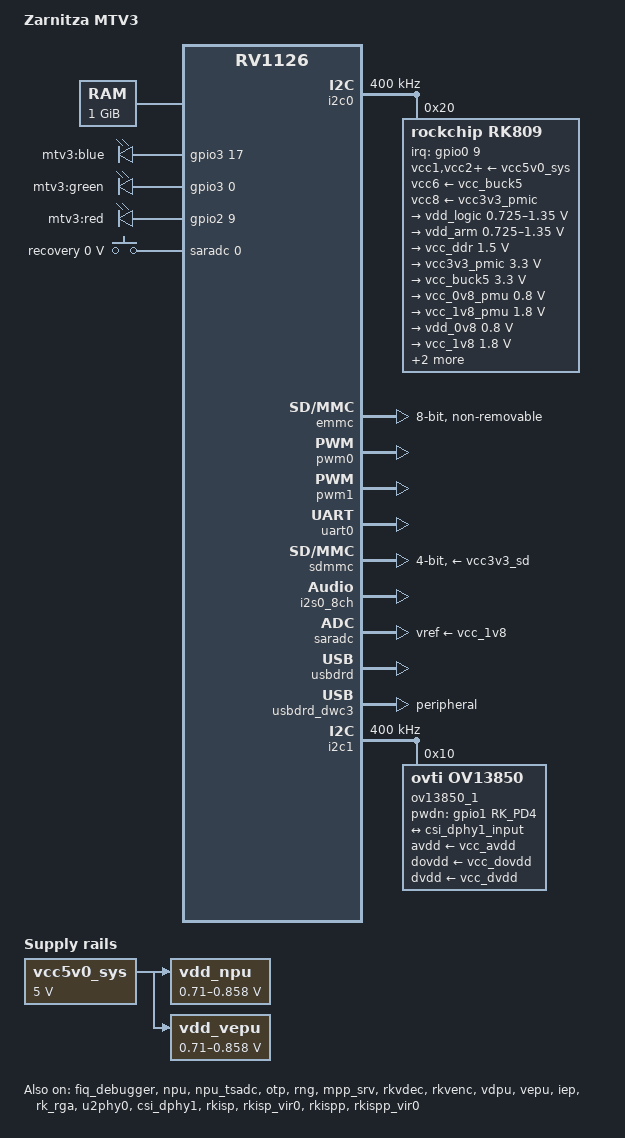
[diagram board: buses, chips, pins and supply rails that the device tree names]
// SPDX-License-Identifier: (GPL-2.0+ OR MIT)
/*
 * Copyright (c) 2025 Zarnitza
 * Device Tree for Zarnitza MTV3 RV1126-based Board
 * Combined single-file configuration
 *
 * MTV3 REV2 (этот ревью, по аудиту netlist/BOM от 2026-07-07..08):
 *  P0:
 *   - wireless-wlan / wireless-bluetooth / &sdio: disabled -> okay
 *     (в REV1 фиксы заявлены в шапке, но в текст не доехали).
 *   - &sdio: закрыт незакрытый блочный комментарий после supports-sdio —
 *     он молча съедал pinctrl-names/pinctrl-0/default-sample-phase.
 *   - rk809: vcc5-supply был <&vcc_buck5> (цикл на самого себя) -> vcc5v0_sys
 *     (лог рабочего DTB: "DCDC_REG5: supplied by vcc5v0_sys").
 *   - &sdio: + vmmc-supply = vcc_3v3_sw2 (VBAT AP6255; R116 снят, питание
 *     напрямую с VCC_3V3). В старом DTB mmc2 был слинкован только с vcc_1v8.
 *  P1:
 *   - vdd_npu/vdd_vepu: окно 725..876 мВ заменено на РАСЧЁТНОЕ 710..858 мВ
 *     (делитель R38/R41 33K/100K, инжекция 330K, PWM 3.3В через 12K/10K).
 *     876 мВ на текущих номиналах недостижим. TODO: замерить duty 0%/100%.
 *   - wifi_host_wake_h: pull_down -> pull_none (на плате внешняя R94 10K
 *     вверх к VCCIO_WL; внутренний pull-down давал делитель ~1.4В).
 *  P2:
 *   - LEDs: ACTIVE_LOW -> ACTIVE_HIGH (NPN low-side Q1..Q3, high = горит).
 *   - &emmc: возвращён штатный pinctrl (сняты /delete-property/) — иначе
 *     мультиплекс держится только на наследии от BootROM/U-Boot.
 *   - rk809_codec: удалён hp-det (GPIO3_C3 — спейр, физического детекта нет,
 *     плавающий пин случайно переключал тракт).
 *   - vccio_sd: диапазон сужен до 3.3В fixed (при no-1-8-v широкий диапазон
 *     оставлял дверь для шторма io-domains "Voltage invalid").
 *   - удалён неиспользуемый pinctrl camera_pwr_pins (GPIO3_A4).
 *   - vcc3v3_phy: vin-supply -> vcc_3v3_sw2 (железо: VCC33_LAN <- R144 <- VCC_3V3).
 *  GMAC (остаётся disabled, только клоки приведены к железу):
 *   - clock_in_out: "output" -> "input" (PHY_CLKOUT125 -> R129 22R -> GMAC_CLK_M1
 *     собран; R117 (25МГц от SoC в кварцевый контур PHY) — DNP, у PHY свой Y3).
 *   - убраны CLK_GMAC_ETHERNET_OUT (+25 МГц) и &clkm1_out_ethernet — выход
 *     G21 в никуда.
 *
 * MTV3 FIX (REV1):
 *   - &uart0  disabled -> okay   : BT (brcm_patchram_plus) требует /dev/ttyS0;
 *                                  RTS исключён из pinctrl и отдан wireless-bluetooth,
 *                                  поэтому rfkill_bt больше не падает с -22.
 *   - &saradc disabled -> okay   : adc-keys (recovery) сидит на <&saradc 0>.
 *   - wireless-wlan: + rockchip,grf, + reg_on в pinctrl, clk_wifi = rk808-clkout2.
 */

/dts-v1/;
#include <dt-bindings/gpio/gpio.h>
#include <dt-bindings/pinctrl/rockchip.h>
#include <dt-bindings/display/media-bus-format.h>
#include <dt-bindings/input/input.h>
#include "rv1126.dtsi"

/ {
	model = "Zarnitza MTV3";
	compatible = "zarnitza,rv1126-mtv3", "rockchip,rv1126";

	chosen {
		bootargs = "console=ttyFIQ0,1500000 root=/dev/mmcblk0p6 rw rootwait";
		/*
		 * Прошивка bcmdhd вшита с Android-путями
		 * (/vendor/etc/firmware/fw_bcmdhd.bin, .../nvram.txt) — на Buildroot
		 * их нет. Либо положить файлы туда (симлинки на BCM43455/AP6255),
		 * либо раскомментировать оверрайд ниже (имена сверить с деревом SDK):
		 * bootargs = "console=ttyFIQ0,1500000 root=/dev/mmcblk0p6 rw rootwait \
		 *   bcmdhd.firmware_path=/lib/firmware/fw_bcm43455c0_ag.bin \
		 *   bcmdhd.nvram_path=/lib/firmware/nvram_ap6255.txt";
		 */
	};

	memory@0 {
		device_type = "memory";
		/* 2x512МБ DDR3 K4B4G1646E = 1ГБ (DDR-лог: Size=1024MB) */
		reg = <0x0 0x40000000>; /* 1 ГБ; база RV1126 = 0x0 */
	};

	aliases {
		ethernet0 = &gmac;
		mmc0 = &emmc;
		mmc1 = &sdmmc;
		mmc2 = &sdio;
	};

	/*
	 * ============================================================
	 * Power Supplies
	 * ============================================================
	 */

	/* External 5V input */
	vcc5v0_sys: vcc5v0-sys-regulator {
		compatible = "regulator-fixed";
		regulator-name = "vcc5v0_sys";
		regulator-min-microvolt = <5000000>;
		regulator-max-microvolt = <5000000>;
		regulator-always-on;
		regulator-boot-on;
	};

	/*
	 * VDD_NPU: SY8089 + ШИМ PWM0/GPIO0_B6 (схема, лист 14).
	 * MTV3 REV2: окно = РАСЧЁТ по номиналам платы (FB 0.6В; R38 33K верх,
	 * R41 100K низ, R44 330K инжекция; PWM 3.3В через R43 12K / R45 10K;
	 * подтяжка R42 24K к 3.3В): duty0 -> 0.858В, duty100 -> 0.710В.
	 * 876 мВ НЕДОСТИЖИМ на текущих номиналах — OPP-800МГц (875мВ) не включать
	 * до респина (R41/R49 100K -> 86.6K даст окно ~0.74..0.89В).
	 * TODO: подтвердить края вольтметром при duty 0%/100% до включения
	 * npu-supply/venc-supply.
	 */
	vdd_npu: vdd-npu {
		compatible = "pwm-regulator";
		pwms = <&pwm0 0 3300 1>;
		regulator-name = "vdd_npu";
		regulator-min-microvolt = <710000>;
		regulator-max-microvolt = <858000>;
		regulator-init-microvolt = <800000>;
		regulator-settling-time-up-us = <300>;
		regulator-always-on;
		regulator-boot-on;
		pwm-supply = <&vcc5v0_sys>;
	};

	/* VDD_VEPU: SY8089 + ШИМ PWM1/GPIO0_B7 (схема, лист 14). Окно — см. vdd_npu */
	vdd_vepu: vdd-vepu {
		compatible = "pwm-regulator";
		pwms = <&pwm1 0 3300 1>;
		regulator-name = "vdd_vepu";
		regulator-min-microvolt = <710000>;
		regulator-max-microvolt = <858000>;
		regulator-init-microvolt = <800000>;
		regulator-settling-time-up-us = <300>;
		regulator-always-on;
		regulator-boot-on;
		pwm-supply = <&vcc5v0_sys>;
	};

	/*
	 * Ethernet PHY power.
	 * MTV3 REV2: vin-supply -> vcc_3v3_sw2: в железе VCC33_LAN питается
	 * через R144 100мОм от VCC_3V3 (выход SWITCH_REG2), не от vcc3v3_pmic.
	 */
	vcc3v3_phy: vcc3v3-phy-regulator {
		compatible = "regulator-fixed";
		regulator-name = "vcc3v3_phy";
		regulator-min-microvolt = <3300000>;
		regulator-max-microvolt = <3300000>;
		vin-supply = <&vcc_3v3_sw2>;
		regulator-always-on;
		regulator-boot-on;
	};

	/*
	 * ============================================================
	 * User Interface (LEDs, Keys)
	 * ============================================================
	 */

	/*
	 * MTV3 User LEDs.
	 * MTV3 REV2: полярность ACTIVE_HIGH — драйверы NPN low-side
	 * (GPIO -> 10K R165..R167 -> база S8050 Q1..Q3, high = горит).
	 */
	leds {
		compatible = "gpio-leds";
		pinctrl-names = "default";
		pinctrl-0 = <&user_led_pins>;

		/* BLED_EN = GPIO3_C1 (схема S11) */
		blue-led {
			label = "mtv3:blue";
			gpios = <&gpio3 17 GPIO_ACTIVE_HIGH>;	/* GPIO3_C1 */
			linux,default-trigger = "mmc1";
		};

		/* GLED_EN = GPIO3_A0 (схема S12, ball E19) */
		green-led {
			label = "mtv3:green";
			gpios = <&gpio3 0 GPIO_ACTIVE_HIGH>;	/* GPIO3_A0 */
			linux,default-trigger = "mmc1";
		};

		/* RLED_EN = GPIO2_B1 (схема S12, ball L20) */
		red-led {
			label = "mtv3:red";
			gpios = <&gpio2 9 GPIO_ACTIVE_HIGH>;	/* GPIO2_B1 */
			linux,default-trigger = "heartbeat";
		};
	};

	/*
	 * На модуле единственная кнопка — recovery SW1 на SARADC ADC0 (схема S13).
	 * Кнопка питания — это PMIC RK809 pwrkey (отдельно). Прежние gpio-keys
	 * сидели на SDMMC0_DET (GPIO0_A3), TSADC_SHUT (GPIO0_A1) и спейр GPIO3_C3 —
	 * это не кнопки, удалены.
	 */
	adc-keys {
		compatible = "adc-keys";
		io-channels = <&saradc 0>;
		io-channel-names = "buttons";
		keyup-threshold-microvolt = <1800000>;
		poll-interval = <100>;

		recovery-key {
			label = "recovery";
			linux,code = <408>; /* KEY_RESTART; назначьте под свою задачу */
			press-threshold-microvolt = <0>;
		};
	};

	/*
	 * ============================================================
	 * Audio
	 * ============================================================
	 */
	mtv3_sound: mtv3-sound {
		compatible = "simple-audio-card";
		simple-audio-card,format = "i2s";
		simple-audio-card,mclk-fs = <256>;
		simple-audio-card,name = "mtv3-audio";
		simple-audio-card,cpu {
			sound-dai = <&i2s0_8ch>;
		};
		simple-audio-card,codec {
			sound-dai = <&rk809_codec>;
		};
	};

	/*
	 * ============================================================
	 * Wireless (WiFi/Bluetooth)
	 * ============================================================
	 */

	/* WiFi - AP6255 (BCM43455), bcmdhd/rfkill (CONFIG_BCMDHD=y) */
	wireless-wlan {
		compatible = "wlan-platdata";
		rockchip,grf = <&grf>;		/* нужен rfkill_wlan */
		wifi_chip_type = "ap6255";
		sdio_vref = <1800>;		/* = страп SDIO_VSEL (R107 10K вверх) */
		clocks = <&rk809 1>;		/* 32k LPO = rk808-clkout2 (пин 68) */
		clock-names = "clk_wifi";	/* подтверждено clk_summary: 1/1, 32768 Гц */
		WIFI,poweren_gpio  = <&gpio0 RK_PA6 GPIO_ACTIVE_HIGH>;	/* WIFI_REG_ON */
		WIFI,host_wake_irq = <&gpio0 RK_PB0 GPIO_ACTIVE_HIGH>;	/* WIFI_HOST_WAKE */
		pinctrl-names = "default";
		pinctrl-0 = <&wifi_host_wake_h &wifi_reg_on_h>;
		status = "disabled";		/* MTV3 REV2: реально включён */
		/*
		 * БЕЗ клока clk_wifi clkout2 гасится (clk_disable_unused) -> 32k не идёт
		 * на AP6255 -> PMU не стартует -> CMD5 timeout / dhd err=-19.
		 * Проверка: clk_summary -> rk808-clkout2 enable_count >= 1.
		 */
	};

	/* Bluetooth - AP6255 module */
	wireless-bluetooth {
		compatible = "bluetooth-platdata";
		uart_rts_gpios = <&gpio1 16 GPIO_ACTIVE_LOW>;	/* GPIO1_C0 - UART0 RTS */
		pinctrl-names = "default", "rts_gpio";
		pinctrl-0 = <&uart0_rtsn>;
		pinctrl-1 = <&uart0_rtsn_gpio>;
		BT,reset_gpio = <&gpio0 7 GPIO_ACTIVE_HIGH>;	/* GPIO0_A7 - BT_REG_ON */
		BT,wake_host_irq = <&gpio0 5 GPIO_ACTIVE_HIGH>;	/* GPIO0_A5 - BT Wake Host */
		status = "disabled";		/* MTV3 REV2: реально включён */
	};
};

/*
 * ============================================================
 * PMIC (RK809) Configuration
 * ============================================================
 */
&i2c0 {
	status = "okay";
	clock-frequency = <400000>;

	rk809: pmic@20 {
		compatible = "rockchip,rk809";
		reg = <0x20>;
		interrupt-parent = <&gpio0>;
		interrupts = <9 8>;
		#clock-cells = <1>;
		clock-output-names = "rk808-clkout1", "rk808-clkout2";
		pinctrl-names = "default";
		pinctrl-0 = <&pmic_pins>;
		rockchip,system-power-controller;
		wakeup-source;

		/* PMIC input supply mappings (VINx pins) */
		vcc1-supply = <&vcc5v0_sys>;	/* VIN1 -> DCDC_REG1 (vdd_logic) */
		vcc2-supply = <&vcc5v0_sys>;	/* VIN2 -> DCDC_REG2 (vdd_arm) */
		vcc3-supply = <&vcc5v0_sys>;	/* VIN3 -> DCDC_REG3 (vcc_ddr) */
		vcc4-supply = <&vcc5v0_sys>;	/* VIN4 -> DCDC_REG4 (vcc3v3_pmic) */
		vcc5-supply = <&vcc5v0_sys>;	/* VIN5 -> DCDC_REG5; MTV3 REV2: был цикл на vcc_buck5 */
		vcc6-supply = <&vcc_buck5>;	/* VIN6 -> LDO_REG1-4 */
		vcc7-supply = <&vcc5v0_sys>;	/* VIN7 -> LDO_REG5-7 */
		vcc8-supply = <&vcc3v3_pmic>;	/* VIN8 -> SWITCH_REG2 */
		vcc9-supply = <&vcc5v0_sys>;	/* VIN9 -> SWITCH_REG1 */

		pwrkey {
			status = "okay";
		};

		pinctrl_rk8xx: pinctrl_rk8xx {
			gpio-controller;
			#gpio-cells = <2>;

			rk817_slppin_null: rk817_slppin_null {
				pins = "gpio_slp";
				function = "pin_fun0";
			};

			rk817_slppin_slp: rk817_slppin_slp {
				pins = "gpio_slp";
				function = "pin_fun1";
			};

			rk817_slppin_pwrdn: rk817_slppin_pwrdn {
				pins = "gpio_slp";
				function = "pin_fun2";
			};

			rk817_slppin_rst: rk817_slppin_rst {
				pins = "gpio_slp";
				function = "pin_fun3";
			};
		};

		regulators {
			vdd_logic: DCDC_REG1 {
				regulator-always-on;
				regulator-boot-on;
				regulator-min-microvolt = <725000>;
				regulator-max-microvolt = <1350000>;
				regulator-ramp-delay = <6001>;
				regulator-initial-mode = <0x2>;
				regulator-name = "vdd_logic";
				regulator-state-mem {
					regulator-on-in-suspend;
					regulator-suspend-microvolt = <800000>;
				};
			};

			vdd_arm: DCDC_REG2 {
				regulator-always-on;
				regulator-boot-on;
				regulator-min-microvolt = <725000>;
				regulator-max-microvolt = <1350000>;
				regulator-ramp-delay = <6001>;
				regulator-initial-mode = <0x2>;
				regulator-name = "vdd_arm";
				regulator-state-mem {
					regulator-off-in-suspend;
				};
			};

			vcc_ddr: DCDC_REG3 {
				regulator-name = "vcc_ddr";
				regulator-min-microvolt = <1500000>;
				regulator-max-microvolt = <1500000>;
				regulator-initial-mode = <0x2>;
				regulator-always-on;
				regulator-boot-on;
				regulator-state-mem {
					regulator-on-in-suspend;
				};
			};

			vcc3v3_pmic: DCDC_REG4 {
				regulator-name = "vcc3v3_pmic";
				regulator-min-microvolt = <3300000>;
				regulator-max-microvolt = <3300000>;
				regulator-initial-mode = <0x2>;
				regulator-always-on;
				regulator-boot-on;
				regulator-state-mem {
					regulator-on-in-suspend;
				};
			};

			vcc_buck5: DCDC_REG5 {
				regulator-name = "vcc_buck5";
				regulator-min-microvolt = <3300000>;
				regulator-max-microvolt = <3300000>;
				regulator-always-on;
				regulator-boot-on;
			};

			vcc_0v8_pmu: LDO_REG1 {
				regulator-name = "vcc_0v8_pmu";
				regulator-min-microvolt = <800000>;
				regulator-max-microvolt = <800000>;
				regulator-always-on;
				regulator-boot-on;
				regulator-state-mem {
					regulator-on-in-suspend;
				};
			};

			vcc_1v8_pmu: LDO_REG2 {
				regulator-name = "vcc_1v8_pmu";
				regulator-min-microvolt = <1800000>;
				regulator-max-microvolt = <1800000>;
				regulator-always-on;
				regulator-boot-on;
				regulator-state-mem {
					regulator-on-in-suspend;
				};
			};

			vdd_0v8: LDO_REG3 {
				regulator-name = "vdd_0v8";
				regulator-min-microvolt = <800000>;
				regulator-max-microvolt = <800000>;
				regulator-always-on;
				regulator-boot-on;
				regulator-state-mem {
					regulator-on-in-suspend;
					regulator-suspend-microvolt = <800000>;
				};
			};

			vcc_1v8: LDO_REG4 {
				regulator-name = "vcc_1v8";
				regulator-min-microvolt = <1800000>;
				regulator-max-microvolt = <1800000>;
				regulator-always-on;
				regulator-boot-on;
				regulator-state-mem {
					regulator-on-in-suspend;
				};
			};

			vcc_dovdd: LDO_REG5 {
				regulator-always-on;
				regulator-name = "vcc_dovdd";
				regulator-min-microvolt = <1800000>;
				regulator-max-microvolt = <1800000>;
				regulator-state-mem {
					regulator-off-in-suspend;
				};
			};

			vcc_dvdd: LDO_REG6 {
				regulator-name = "vcc_dvdd";
				regulator-min-microvolt = <1200000>;
				regulator-max-microvolt = <1200000>;
				regulator-always-on;
				regulator-boot-on;
				regulator-state-mem {
					regulator-off-in-suspend;
				};
			};

			vcc_avdd: LDO_REG7 {
				regulator-always-on;
				regulator-name = "vcc_avdd";
				regulator-min-microvolt = <2800000>;
				regulator-max-microvolt = <2800000>;
				regulator-state-mem {
					regulator-off-in-suspend;
				};
			};

			/*
			 * MTV3 REV2: зажат на 3.3В. UHS убран из &sdmmc (no-1-8-v),
			 * широкий диапазон 1.8..3.3 оставлял дверь для шторма
			 * io-domains "Voltage invalid" на vccio2.
			 */
			vccio_sd: LDO_REG8 {
				regulator-always-on;
				regulator-name = "vccio_sd";
				regulator-min-microvolt = <3300000>;
				regulator-max-microvolt = <3300000>;
				regulator-state-mem {
					regulator-off-in-suspend;
				};
			};

			vcc3v3_sd: LDO_REG9 {
				regulator-always-on;
				regulator-name = "vcc3v3_sd";
				regulator-min-microvolt = <3300000>;
				regulator-max-microvolt = <3300000>;
				regulator-state-mem {
					regulator-off-in-suspend;
				};
			};

			vcc5v0_host: SWITCH_REG1 {
				regulator-always-on;
				regulator-name = "vcc5v0_host";
				regulator-min-microvolt = <5000000>;
				regulator-max-microvolt = <5000000>;
				regulator-state-mem {
					regulator-off-in-suspend;
				};
			};

			vcc_3v3_sw2: SWITCH_REG2 {
				regulator-always-on;
				regulator-name = "vcc_3v3_sw2";
				regulator-min-microvolt = <3300000>;
				regulator-max-microvolt = <3300000>;
				regulator-boot-on;
				regulator-state-mem {
					regulator-on-in-suspend;
				};
			};
		};

		rk809_codec: codec {
			#sound-dai-cells = <0>;
			compatible = "rockchip,rk817-codec";
			clocks = <&cru MCLK_I2S0_TX_OUT2IO>;
			clock-names = "mclk";
			assigned-clocks = <&cru MCLK_I2S0_TX_OUT2IO>;
			assigned-clock-parents = <&cru MCLK_I2S0_TX>;
			pinctrl-names = "default";
			pinctrl-0 = <&i2s0m0_mclk>;
			hp-volume = <20>;
			spk-volume = <3>;
			status = "okay";
			/*
			 * MTV3 REV2: hp-det (GPIO3_C3) удалён — спейр без физического
			 * детекта, плавающий вход переключал тракт случайным образом.
			 */
		};
	};
};

&pmu_io_domains {
	status = "okay";
	pmuio0-supply = <&vcc_1v8_pmu>;
	pmuio1-supply = <&vcc3v3_pmic>;
	vccio1-supply = <&vcc_3v3_sw2>;
	vccio2-supply = <&vccio_sd>;
	vccio3-supply = <&vcc_1v8>;
	vccio4-supply = <&vcc_1v8>;
	vccio5-supply = <&vcc_3v3_sw2>;
	vccio6-supply = <&vcc_3v3_sw2>;
	vccio7-supply = <&vcc_1v8>;
};

/*
 * ============================================================
 * CPU/NPU OPP Tables
 * ============================================================
 */
&cpu0 {
	cpu-supply = <&vdd_arm>;
};

&npu_opp_table {
	/* MTV3 NPU OPP configuration optimized for machine vision workloads */
	opp-200000000 {
		opp-hz = /bits/ 64 <200000000>;
		opp-microvolt = <725000>;
	};

	opp-300000000 {
		opp-hz = /bits/ 64 <300000000>;
		opp-microvolt = <750000>;
	};

	opp-400000000 {
		opp-hz = /bits/ 64 <400000000>;
		opp-microvolt = <775000>;
	};

	opp-500000000 {
		opp-hz = /bits/ 64 <500000000>;
		opp-microvolt = <800000>;
	};

	opp-600000000 {
		opp-hz = /bits/ 64 <600000000>;
		opp-microvolt = <825000>;
	};

	opp-700000000 {
		opp-hz = /bits/ 64 <700000000>;
		opp-microvolt = <850000>;
	};

	/*
	 * 875 мВ вне окна pwm-regulator на текущих номиналах (max 858 мВ).
	 * Активировать только после респина R41/R49 -> 86.6K.
	 */
	opp-800000000 {
		opp-hz = /bits/ 64 <800000000>;
		opp-microvolt = <875000>;
	};
};

&cpu0_opp_table {
	/* MTV3 CPU OPP configuration */
	opp-408000000 {
		opp-hz = /bits/ 64 <408000000>;
		opp-microvolt = <800000>;
		clock-latency-ns = <40000>;
	};

	opp-600000000 {
		opp-hz = /bits/ 64 <600000000>;
		opp-microvolt = <800000>;
		clock-latency-ns = <40000>;
	};

	opp-816000000 {
		opp-hz = /bits/ 64 <816000000>;
		opp-microvolt = <850000>;
		clock-latency-ns = <40000>;
	};

	opp-1008000000 {
		opp-hz = /bits/ 64 <1008000000>;
		opp-microvolt = <925000>;
		clock-latency-ns = <40000>;
	};

	opp-1200000000 {
		opp-hz = /bits/ 64 <1200000000>;
		opp-microvolt = <975000>;
		clock-latency-ns = <40000>;
	};

	opp-1416000000 {
		opp-hz = /bits/ 64 <1416000000>;
		opp-microvolt = <1025000>;
		clock-latency-ns = <40000>;
	};

	/* Maximum CPU frequency */
	opp-1512000000 {
		opp-hz = /bits/ 64 <1512000000>;
		opp-microvolt = <1075000>;
		clock-latency-ns = <40000>;
	};
};

/*
 * ============================================================
 * Storage / Debug Console
 * ============================================================
 */
&emmc {
	bus-width = <8>;
	cap-mmc-highspeed;
	non-removable;
	no-1-8-v;
	rockchip,default-sample-phase = <90>;
	supports-emmc;
	/*
	 * MTV3 REV2: /delete-property/ pinctrl снят — мультиплекс держался
	 * только на наследии BootROM/U-Boot и терялся drive-strength;
	 * после suspend/resume мог отвалиться. Наследуем штатный pinctrl
	 * из rv1126.dtsi. Если удаление лечило конкретный конфликт — сообщить.
	 */
	status = "okay";
};

&fiq_debugger {
	status = "okay";
	rockchip,baudrate = <1500000>;
	rockchip,irq-mode-enable = <1>;
	rockchip,serial-id = <2>;
	pinctrl-names = "default";
	pinctrl-0 = <&uart2m1_xfer>;
};

&uart2 {
	status = "disabled";
};

/* PWM для pwm-regulator VDD_NPU/VDD_VEPU + UART0 для BT */
&pwm0 {
	status = "okay";
};

&pwm1 {
	status = "okay";
};

&uart0 {
	status = "okay";	/* BT (patchram) требует ttyS0 */
	/*
	 * RTS (GPIO1_C0/gpio1-16) НЕ отдаём serial-драйверу: иначе ttyS0
	 * захватывает пин и rfkill_bt падает с -22. RTS управляет
	 * wireless-bluetooth (pinctrl uart0_rtsn / uart0_rtsn_gpio).
	 */
	pinctrl-names = "default";
	pinctrl-0 = <&uart0_xfer &uart0_ctsn>;
};

/* SD Card Slot */
&sdmmc {
	status = "okay";
	bus-width = <4>;
	cap-mmc-highspeed;
	cap-sd-highspeed;
	card-detect-delay = <200>;
	rockchip,default-sample-phase = <90>;
	supports-sd;
	no-1-8-v;
	broken-cd;
	/*
	 * UHS убран: переключение сигналки 1.8В на широкодиапазонном vccio_sd
	 * вызывало шторм io-domains "Voltage invalid". Только HS/3.3В.
	 * broken-cd: детект R85 подтянут к коммутируемому VCC3V3_SD (P0 респина).
	 */
	vqmmc-supply = <&vccio_sd>;
	vmmc-supply = <&vcc3v3_sd>;
};

/*
 * ============================================================
 * Networking
 * ============================================================
 */

/* WiFi SDIO Interface */
&sdio {
	status = "disabled";	/* MTV3 REV2: реально включён (в REV1 остался disabled) */
	bus-width = <4>;
	cap-sd-highspeed;
	cap-sdio-irq;
	keep-power-in-suspend;
	non-removable;		/* нужно для presence карты (detect программный) */
	supports-sdio;		/* КРИТИЧНО: ставит RESTRICT_CARD_TYPE_SDIO */
	/*
	 * MTV3 REV2: блочный комментарий выше был не закрыт и молча съедал
	 * следующие три строки (pinctrl + sample-phase). Не повторять.
	 */
	pinctrl-names = "default";
	pinctrl-0 = <&sdio_clk &sdio_cmd &sdio_bus4>;
	rockchip,default-sample-phase = <90>;	/* устойчивость шины 1.8В */
	vmmc-supply = <&vcc_3v3_sw2>;	/* VBAT: VCC_3V3 -> (R116 снят) -> VCC_WL, 3.3В */
	vqmmc-supply = <&vcc_1v8>;	/* VDDIO модуля (VCCIO_WL) = 1.8В через R109; REG_ON рулит rfkill */
};

&vcc3v3_phy {
	status = "disabled";
};

/*
 * Gigabit Ethernet — остаётся ВЫКЛЮЧЕН до респина (VDDIO PHY не запитан, P0-1).
 * MTV3 REV2: клоки приведены к железу заранее:
 *  - clock_in_out = "input": PHY_CLKOUT125 -> R129 22R -> GMAC_CLK_M1 (K21) собран,
 *    а R117 (25 МГц от G21 в кварцевый контур PHY) — DNP, у PHY свой кварц Y3.
 *  - CLK_GMAC_ETHERNET_OUT (+ rate 25 МГц) и &clkm1_out_ethernet убраны —
 *    выход G21 физически в никуда.
 * При включении на респине: CLKOUT PHY сконфигурировать на 125 МГц
 * (по умолчанию RTL8211F отдаёт 25 МГц; realtek-драйвер, НЕ ставить
 * realtek,clkout-disable), добавить max-speed = <100> (межплатные разъёмы),
 * mdio phy@1 уже верен (страп PHYAD=001 после починки VDDIO).
 */
&gmac {
	status = "disabled";
	phy-mode = "rgmii";
	clock_in_out = "input";
	assigned-clocks = <&cru CLK_GMAC_SRC>, <&cru CLK_GMAC_TX_RX>;
	assigned-clock-parents = <&cru CLK_GMAC_SRC_M1>, <&cru RGMII_MODE_CLK>;
	assigned-clock-rates = <125000000>;
	tx_delay = <0x2a>;
	rx_delay = <0x1a>;
	snps,reset-gpio = <&gpio2 16 GPIO_ACTIVE_LOW>;	/* GPIO2_C0 */
	snps,reset-active-low;
	snps,reset-delays-us = <0 20000 100000>;
	pinctrl-names = "default";
	pinctrl-0 = <&rgmiim1_miim &rgmiim1_bus2 &rgmiim1_bus4 &rgmiim1_mclkinout>;
	phy-handle = <&phy>;
	phy-supply = <&vcc3v3_phy>;

	mdio {
		compatible = "snps,dwmac-mdio";
		#address-cells = <1>;
		#size-cells = <0>;

		phy: ethernet-phy@1 {
			compatible = "ethernet-phy-ieee802.3-c22";
			reg = <0x1>;
		};
	};
};

/*
 * ============================================================
 * Audio
 * ============================================================
 */
&i2s0_8ch {
	status = "okay";
	#sound-dai-cells = <0>;
	pinctrl-names = "default";
	pinctrl-0 = <&i2s0m0_sclk_tx &i2s0m0_lrck_tx &i2s0m0_sdi0 &i2s0m0_sdo0>;
};

/*
 * ============================================================
 * NPU / AI Accelerator
 * ============================================================
 */
&npu {
	status = "okay";
	npu-supply = <&vdd_npu>;	/* включать после замера окна PWM (см. vdd_npu) */
};

/*
 * ============================================================
 * Sensors and Misc
 * ============================================================
 */
&cpu_tsadc {
	status = "okay";
};

&npu_tsadc {
	status = "okay";
};

&otp {
	status = "okay";
};

&rng {
	status = "okay";
};

&ramoops {
	status = "okay";
};

&saradc {
	status = "okay";	/* adc-keys (recovery) на <&saradc 0> */
	vref-supply = <&vcc_1v8>;
};

/*
 * ============================================================
 * Suspend/Resume
 * ============================================================
 */
&rockchip_suspend {
	status = "okay";
	rockchip,sleep-debug-en = <1>;
	rockchip,sleep-mode-config = <
		(0
		| RKPM_SLP_ARMOFF
		| RKPM_SLP_PMU_PMUALIVE_32K
		| RKPM_SLP_PMU_DIS_OSC
		| RKPM_SLP_PMIC_LP
		)
	>;
	rockchip,wakeup-config = <
		(0
		| RKPM_GPIO_WKUP_EN
		)
	>;
};

/*
 * ============================================================
 * Video Processing
 * ============================================================
 */
&mpp_srv {
	status = "okay";
};

&rkvdec {
	status = "okay";
};

&rkvdec_mmu {
	status = "okay";
};

&rkvenc {
	//venc-supply = <&vdd_vepu>;	/* включать после замера окна PWM (см. vdd_vepu) */
	status = "okay";
};

&rkvenc_mmu {
	status = "okay";
};

&vdpu {
	status = "okay";
};

&vepu {
	status = "okay";
};

&vpu_mmu {
	status = "okay";
};

&iep {
	status = "okay";
};

&iep_mmu {
	status = "okay";
};

&rk_rga {
	status = "okay";
};

/*
 * ============================================================
 * USB
 * ============================================================
 */

/* USB 2.0 PHY0 - OTG port */
&u2phy0 {
	status = "okay";

	u2phy_otg: otg-port {
		status = "okay";
	};
};

/*
 * USB 2.0 PHY1 - Host port
 * TODO: Enable when carrier board with USB host connector is connected
 */
&u2phy1 {
	status = "disabled";

	u2phy_host: host-port {
		status = "disabled";
		phy-supply = <&vcc5v0_host>;
	};
};

&usb_host0_ehci {
	status = "disabled";
};

&usb_host0_ohci {
	status = "disabled";
};

&usbdrd {
	status = "okay";
};

&usbdrd_dwc3 {
	status = "okay";
	dr_mode = "peripheral";
};

/* ============================================================
 * Две камеры OV13850 на MTV3 (RV1126) — ФИНАЛЬНАЯ DTS-конфигурация
 * ============================================================
 *
 * Пины (из схемы MTV3, переведены в RK_Pxy):
 *   SDA  W19  GPIO1_D2   i2c1 SDA
 *   SCL  Y21  GPIO1_D3   i2c1 SCL
 *   PDN1 W20  GPIO1_D4   cam1 powerdown  -> &gpio1 RK_PD4
 *   PDN2 V20  GPIO1_D5   cam2 powerdown  -> &gpio1 RK_PD5
 *   XSD1 V19  GPIO1_D6   cam1 reset      -> &gpio1 RK_PD6
 *   XSD2 U18  GPIO1_D7   cam2 reset      -> &gpio1 RK_PD7
 *   XVS1 U19  GPIO2_A0   cam1 frame-sync -> &gpio2 RK_PA0  (опционально)
 *   XVS2 U20  GPIO2_A1   cam2 frame-sync -> &gpio2 RK_PA1  (опционально)
 *   MIPI_CLK1 GPIO2_A2   xvclk cam1 -> pinctrl mipicsi_clk1 (узел на RK_PA2!)
 *   MIPI_CLK2 GPIO2_A3   xvclk cam2 -> pinctrl mipicsi_clk0 (узел на RK_PA3!)
 *
 *  ВНИМАНИЕ: имена pinctrl-узлов "перевёрнуты" относительно пинов:
 *   mipicsi_clk0 = <2 RK_PA3 1> -> GPIO2_A3 = MIPI_CLK2 -> cam2
 *   mipicsi_clk1 = <2 RK_PA2 1> -> GPIO2_A2 = MIPI_CLK1 -> cam1
 *   Поэтому cam1 использует mipicsi_clk1, cam2 — mipicsi_clk0.
 *
 * Камеры:
 *   Camera 1: OV13850 @ i2c1 0x10 -> csi_dphy0 -> mipi_csi2 -> rkcif
 *   Camera 2: OV13850 @ i2c1 0x36 -> csi_dphy1 -> rkisp
 *
 * Параметры OV13850 (драйвер ov13850.c): xvclk 24MHz (CLK_MIPICSI_OUT),
 *   2 data-lanes, link-freq 300MHz, supplies avdd/dovdd/dvdd.
 *
 *  Осталось проверить (отмечено TODO):
 *   xvclk pinctrl ПОДТВЕРЖДЁН: mipicsi_clk0=GPIO2_A3, mipicsi_clk1=GPIO2_A2 (func 1)
 *   XSD1/XSD2: если на камерной плате заведены на XSHUTDOWN сенсора —
 *   раскомментировать reset-gpios и снять no-op __ov13850_power_off.
 */

/* ---------------- Сенсоры на i2c1 ---------------- */
&i2c1 {
	status = "okay";
	clock-frequency = <400000>;

	ov13850_1: ov13850@10 {
		compatible = "ovti,ov13850";
		reg = <0x10>;
		clocks = <&cru CLK_MIPICSI_OUT>;
		clock-names = "xvclk";
		power-domains = <&power RV1126_PD_VI>;
		pinctrl-names = "rockchip,camera_default";
		pinctrl-0 = <&mipicsi_clk1>;		/* GPIO2_A2 = MIPI_CLK1 */
		avdd-supply = <&vcc_avdd>;
		dovdd-supply = <&vcc_dovdd>;
		dvdd-supply = <&vcc_dvdd>;
		pwdn-gpios  = <&gpio1 RK_PD4 GPIO_ACTIVE_HIGH>;	/* PDN1 W20 */
		// reset-gpios = <&gpio1 RK_PD6 GPIO_ACTIVE_LOW>;	/* XSD1 V19 */
		rockchip,camera-module-index = <0>;
		rockchip,camera-module-facing = "back";
		rockchip,camera-module-name = "OV13850-CAM1";
		rockchip,camera-module-lens-name = "default";

		port {  
			ucam_out0: endpoint {
				remote-endpoint = <&csi_dphy1_input>;
				data-lanes = <1 2>;
			};
		};
	};

	// ov13850_2: ov13850@36 {
	// 	compatible = "ovti,ov13850";
	// 	reg = <0x36>;
	// 	clocks = <&cru CLK_MIPICSI_OUT>;
	// 	clock-names = "xvclk";
	// 	power-domains = <&power RV1126_PD_VI>;
	// 	pinctrl-names = "rockchip,camera_default";
	// 	pinctrl-0 = <&mipicsi_clk0>;		/* GPIO2_A3 = MIPI_CLK2 */
	// 	avdd-supply = <&vcc_avdd>;
	// 	dovdd-supply = <&vcc_dovdd>;
	// 	dvdd-supply = <&vcc_dvdd>;
	// 	pwdn-gpios  = <&gpio1 RK_PD5 GPIO_ACTIVE_HIGH>;	/* PDN2 V20 */
	// 	// reset-gpios = <&gpio1 RK_PD7 GPIO_ACTIVE_LOW>;	/* XSD2 U18 */
	// 	rockchip,camera-module-index = <1>;
	// 	rockchip,camera-module-facing = "front";
	// 	rockchip,camera-module-name = "OV13850-CAM2";
	// 	rockchip,camera-module-lens-name = "default";

	// 	port {
	// 		ucam_out1: endpoint {
	// 			remote-endpoint = <&mipi_in_ucam0>;
	// 			data-lanes = <1 2>;
	// 		};
	// 	};
	// };
};

/* ---------------- csi_dphy0 <- cam1, -> mipi_csi2 ---------------- */
&csi_dphy0 {
	status = "disabled";

	ports {
		#address-cells = <1>;
		#size-cells = <0>;

		port@0 {
			reg = <0>;
			#address-cells = <1>;
			#size-cells = <0>;

			mipi_in_ucam0: endpoint@1 {
				reg = <1>;
				// remote-endpoint = <&ucam_out1>;
				data-lanes = <1 2>;
			};
		};

		port@1 {
			reg = <1>;
			#address-cells = <1>;
			#size-cells = <0>;

			csidphy0_out: endpoint@0 {
				reg = <0>;
				remote-endpoint = <&mipi_csi2_input>;
				data-lanes = <1 2>;
			};
		};
	};
};

/* ---------------- csi_dphy1 <- cam2, -> rkisp_vir0 ---------------- */
&csi_dphy1 {
	status = "okay";

	ports {
		#address-cells = <1>;
		#size-cells = <0>;

		port@0 {
			reg = <0>;
			#address-cells = <1>;
			#size-cells = <0>;

			csi_dphy1_input: endpoint@1 {
				reg = <1>;
				remote-endpoint = <&ucam_out0>;
				data-lanes = <1 2>;
			};
		};

		port@1 {
			reg = <1>;
			#address-cells = <1>;
			#size-cells = <0>;

			csi_dphy1_output: endpoint@0 {
				reg = <0>;
				remote-endpoint = <&isp_in>;
				data-lanes = <1 2>;
			};
		};
	};
};

/* ---------------- mipi_csi2: csi_dphy0 -> rkcif ---------------- */
&mipi_csi2 {
	status = "disabled";

	ports {
		#address-cells = <1>;
		#size-cells = <0>;

		port@0 {
			reg = <0>;
			#address-cells = <1>;
			#size-cells = <0>;

			mipi_csi2_input: endpoint@1 {
				reg = <1>;
				remote-endpoint = <&csidphy0_out>;
				data-lanes = <1 2>;
			};
		};

		port@1 {
			reg = <1>;
			#address-cells = <1>;
			#size-cells = <0>;

			mipi_csi2_output: endpoint@0 {
				reg = <0>;
				remote-endpoint = <&cif_mipi_in>;
				data-lanes = <1 2>;
			};
		};
	};
};

/* ISP CMA buffer для двух камер */
&isp_reserved {
	size = <0x5c00000>;
};

/* ---------------- rkcif (CIF путь cam1) ---------------- */
&rkcif {
	status = "disabled";
};

&rkcif_mipi_lvds {
	status = "disabled";

	port {
		cif_mipi_in: endpoint {
			remote-endpoint = <&mipi_csi2_output>;
			data-lanes = <1 2>;
		};
	};
};

&rkcif_mipi_lvds_sditf {
	status = "disabled";

	port {
		cif_sditf: endpoint {
			remote-endpoint = <&isp_virt1_in>;
			data-lanes = <1 2>;
		};
	};
};

/* ---------------- rkisp + virtual ISP ---------------- */
&rkisp {
	status = "okay";
};

&rkisp_mmu {
	status = "okay";
};

&rkisp_vir0 {
	status = "okay";

	ports {
		#address-cells = <1>;
		#size-cells = <0>;

		port@0 {
			reg = <0>;
			#address-cells = <1>;
			#size-cells = <0>;

			isp_in: endpoint@0 {
				reg = <0>;
				remote-endpoint = <&csi_dphy1_output>;
			};
		};
	};
};

&rkisp_vir1 {
	status = "disabled";

	ports {
		#address-cells = <1>;
		#size-cells = <0>;

		port@0 {
			reg = <0>;
			#address-cells = <1>;
			#size-cells = <0>;

			isp_virt1_in: endpoint@0 {
				reg = <0>;
				remote-endpoint = <&cif_sditf>;
			};
		};
	};
};

&rkispp {
	status = "okay";
	max-input = <2112 1568 30>;
};

&rkispp_vir0 {
	status = "okay";
};

&rkispp_vir1 {
	status = "disabled";
};

&rkispp_mmu {
	status = "okay";
};

/*
 * ============================================================
 * Pin Control
 * ============================================================
 */
&pinctrl {
	pmic {
		pmic_pins: pmic-pins {
			rockchip,pins =
				/* PMIC_SLEEP */
				<0 10 1 &pcfg_pull_none>,
				/* PMIC_INT */
				<0 9 0 &pcfg_pull_up>;
		};
	};

	user-leds {
		user_led_pins: user-led-pins {
			rockchip,pins =
				<3 17 0 &pcfg_pull_none>,	/* GPIO3_C1 - BLED */
				<3 0 0 &pcfg_pull_none>,	/* GPIO3_A0 - GLED */
				<2 9 0 &pcfg_pull_none>;	/* GPIO2_B1 - RLED */
		};
	};

	wifi {
		wifi_reg_on_h: wifi-reg-on-h {
			rockchip,pins =
				<0 6 0 &pcfg_pull_none>;	/* GPIO0_A6 */
		};

		/*
		 * MTV3 REV2: pull_none — на плате внешняя подтяжка R94 10K
		 * вверх к VCCIO_WL; внутренний pull-down давал делитель ~1.4В
		 * в серой зоне VIH + постоянную утечку.
		 */
		wifi_host_wake_h: wifi-host-wake-h {
			rockchip,pins =
				<0 8 0 &pcfg_pull_none>;	/* GPIO0_B0 */
		};
	};
};
